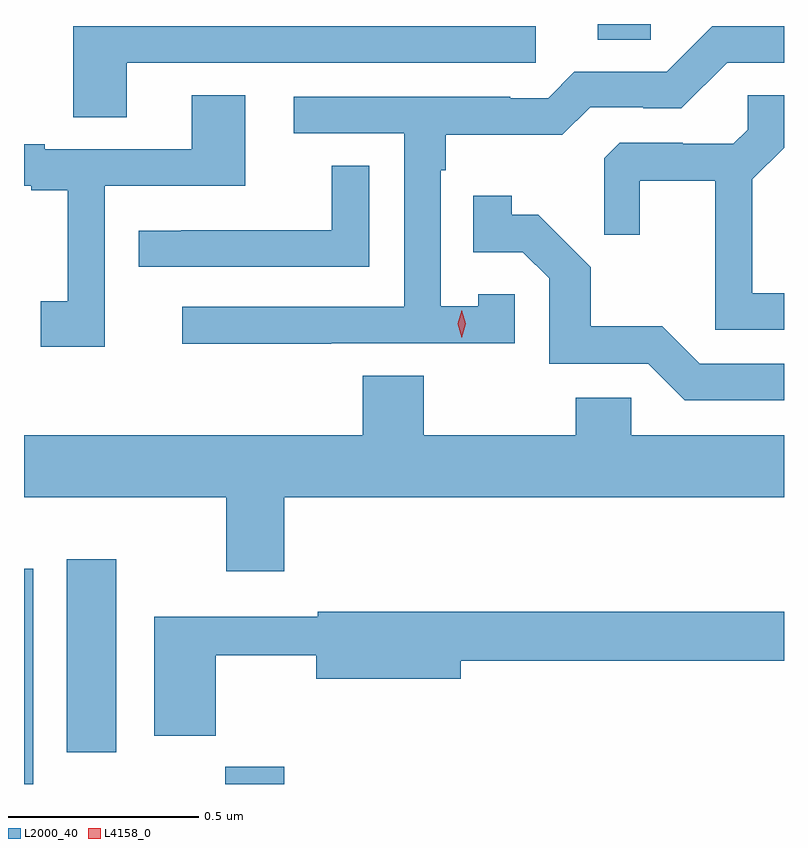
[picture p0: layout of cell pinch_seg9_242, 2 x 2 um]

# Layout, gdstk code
import gdstk
lib = gdstk.Library(unit=1e-6, precision=1e-09)
def R(c, l, rs):  # rectangles x0, y0, x1, y1
    for r in rs: c.add(gdstk.rectangle(r[:2], r[2:], *l))
def P(c, l, *ps):  # polygons
    for p in ps: c.add(gdstk.Polygon(p, *l))
L2000_40 = (2000, 40)
L4158_0 = (4158, 0)

pinch_seg9_242 = lib.new_cell('pinch_seg9_242')
R(pinch_seg9_242, L2000_40, [(425.869,1218.31,425.893,1218.877), (426.399,1218.31,426.554,1218.355), (425.981,1218.393,426.112,1218.901), (427.379,1220.269,427.518,1220.31)])
P(pinch_seg9_242, L2000_40, [(426.139,1220.208),(427.216,1220.208),(427.216,1220.304),(425.999,1220.304),(425.999,1220.065),(426.139,1220.065)],
  [(426.677,1219.47),(427.161,1219.47),(427.161,1219.599),(427.065,1219.599),(427.065,1219.567),(426.966,1219.567),(426.966,1219.925),(426.979,1219.925),(426.979,1220.018),(427.286,1220.018),(427.359,1220.091),(427.498,1220.091),(427.498,1220.088),(427.599,1220.088),(427.719,1220.208),(427.869,1220.208),(427.869,1220.304),(427.68,1220.304),(427.56,1220.184),(427.317,1220.184),(427.248,1220.115),(427.148,1220.115),(427.148,1220.118),(426.579,1220.118),(426.579,1220.022),(426.87,1220.022),(426.87,1219.566),(426.285,1219.566),(426.285,1219.468),(426.677,1219.468)],
  [(426.081,1219.884),(426.451,1219.884),(426.451,1220.123),(426.311,1220.123),(426.311,1219.98),(425.923,1219.98),(425.923,1219.993),(425.869,1219.993),(425.869,1219.884),(425.888,1219.884),(425.888,1219.872),(425.984,1219.872),(425.984,1219.581),(425.913,1219.581),(425.913,1219.461),(426.081,1219.461)],
  [(427.869,1219.602),(427.785,1219.602),(427.785,1219.901),(427.869,1219.985),(427.869,1220.123),(427.773,1220.123),(427.773,1220.032),(427.736,1219.995),(427.602,1219.995),(427.602,1219.998),(427.437,1219.998),(427.396,1219.957),(427.396,1219.755),(427.49,1219.755),(427.49,1219.898),(427.688,1219.898),(427.688,1219.506),(427.869,1219.506)],
  [(426.777,1219.937),(426.679,1219.937),(426.679,1219.767),(426.283,1219.767),(426.283,1219.766),(426.171,1219.766),(426.171,1219.671),(426.777,1219.671)],
  [(427.869,1219.416),(427.647,1219.416),(427.549,1219.515),(427.36,1219.515),(427.36,1219.67),(427.222,1219.808),(427.152,1219.808),(427.152,1219.858),(427.051,1219.858),(427.051,1219.71),(427.182,1219.71),(427.251,1219.641),(427.251,1219.416),(427.512,1219.416),(427.608,1219.32),(427.869,1219.32)],
  [(426.554,1219.064),(427.869,1219.064),(427.869,1219.228),(427.467,1219.228),(427.467,1219.326),(427.321,1219.326),(427.321,1219.228),(426.921,1219.228),(426.921,1219.385),(426.761,1219.385),(426.761,1219.228),(425.869,1219.228),(425.869,1219.064),(426.401,1219.064),(426.401,1218.87),(426.554,1218.87)],
  [(426.374,1218.649),(426.638,1218.649),(426.638,1218.587),(427.018,1218.587),(427.018,1218.634),(427.869,1218.634),(427.869,1218.763),(426.642,1218.763),(426.642,1218.75),(426.212,1218.75),(426.212,1218.437),(426.374,1218.437)])
P(pinch_seg9_242, L4158_0, [(427.021,1219.485),(427.021,1219.485),(427.011,1219.521),(427.021,1219.557),(427.021,1219.557),(427.021,1219.557),(427.031,1219.521),(427.021,1219.485)])

lib.write_gds('pinch_seg9_242.gds')
